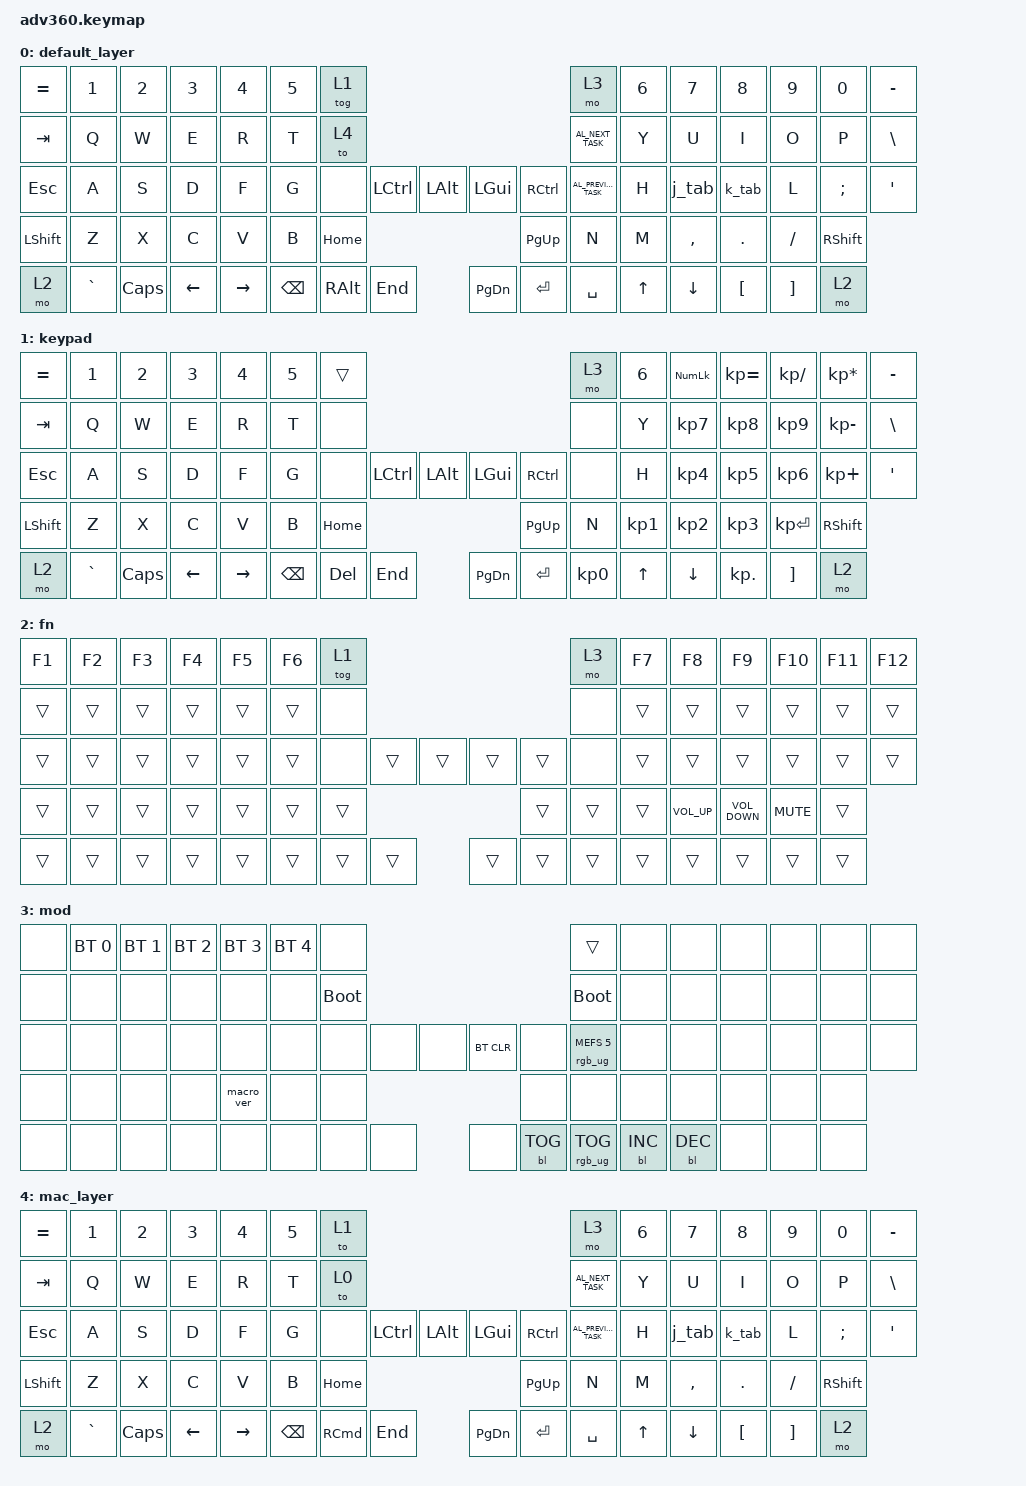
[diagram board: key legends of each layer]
#include <behaviors.dtsi>
#include <dt-bindings/zmk/keys.h>
#include <dt-bindings/zmk/bt.h>
#include <dt-bindings/zmk/rgb.h>
#include <dt-bindings/zmk/backlight.h>
#include "mac.keymap"

/ {
    behaviors {
      #include "macros.dtsi"
      #include "version.dtsi"
      #ifndef VERSION_MACRO
      macro_ver: macro_ver {
        compatible = "zmk,behavior-macro";
        label = "macro_version";
        #binding-cells = <0>;
        bindings = <&kp RET>;
      };
      #endif

      hm: homerow_mods {
          compatible = "zmk,behavior-hold-tap";
          label = "HOMEROW_MODS";
          #binding-cells = <2>;
          tapping-term-ms = <200>;
          quick_tap_ms = <175>;
          flavor = "tap-preferred";
          bindings = <&kp>, <&kp>;
      };
    };

    macros {
        shift_tab: shift_tab {
            label = "Shift_Tab";
            compatible = "zmk,behavior-macro";
            #binding-cells = <0>;
            bindings
                = <&macro_press &kp LSHFT>
                , <&macro_tap &kp TAB>
                , <&macro_release &kp LSHFT>
                ;
        };
    };

    behaviors {
        k_tab: k_tab {
            compatible = "zmk,behavior-mod-morph";
            label = "K_OR_TAB";
            #binding-cells = <0>;
            bindings = <&kp K>, <&kp TAB>;
            mods = <(MOD_RALT)>;
            keep-mods = <(MOD_RALT)>;
        };
    };

  keymap {
    compatible = "zmk,keymap";

    default_layer {
      bindings = <
        &kp EQUAL &kp N1    &kp N2   &kp N3   &kp N4     &kp N5 &tog 1                                                           &mo 3 &kp N6 &kp N7 &kp N8    &kp N9   &kp N0   &kp MINUS
        &kp TAB   &kp Q     &kp W    &kp E    &kp R      &kp T  &to 4                                                            &kp C_AL_NEXT_TASK &kp Y  &kp U  &kp I     &kp O    &kp P    &kp BSLH
        &kp ESC   &kp A     &kp S    &kp D    &kp F      &kp G  &none           &kp LCTRL &kp LALT &kp LGUI  &kp RCTRL           &kp C_AL_PREVIOUS_TASK &kp H  &j_tab  &k_tab     &kp L    &kp SEMI &kp SQT
        &kp LSHFT &kp Z     &kp X    &kp C    &kp V      &kp B                            &kp HOME &kp PG_UP                           &kp N  &kp M  &kp COMMA &kp DOT  &kp FSLH &kp RSHFT
        &mo 2     &kp GRAVE &kp CAPS &kp LEFT &kp RIGHT                &kp BSPC &kp RALT   &kp END  &kp PG_DN &kp ENTER &kp SPACE              &kp UP &kp DOWN  &kp LBKT &kp RBKT &mo 2
      >;
    };
    keypad {
      bindings = <
        &kp EQUAL &kp N1    &kp N2   &kp N3   &kp N4     &kp N5 &trans                                                           &mo 3 &kp N6 &kp KP_NUM &kp KP_EQUAL &kp KP_DIVIDE &kp KP_MULTIPLY &kp MINUS
        &kp TAB   &kp Q     &kp W    &kp E    &kp R      &kp T  &none                                                            &none &kp Y  &kp KP_N7  &kp KP_N8    &kp KP_N9     &kp KP_MINUS    &kp BSLH
        &kp ESC   &kp A     &kp S    &kp D    &kp F      &kp G  &none           &kp LCTRL &kp LALT &kp LGUI  &kp RCTRL           &none &kp H  &kp KP_N4  &kp KP_N5    &kp KP_N6     &kp KP_PLUS     &kp SQT
        &kp LSHFT &kp Z     &kp X    &kp C    &kp V      &kp B                            &kp HOME &kp PG_UP                           &kp N  &kp KP_N1  &kp KP_N2    &kp KP_N3     &kp KP_ENTER    &kp RSHFT
        &mo 2     &kp GRAVE &kp CAPS &kp LEFT &kp RIGHT                &kp BSPC &kp DEL   &kp END  &kp PG_DN &kp ENTER &kp KP_N0              &kp UP     &kp DOWN     &kp KP_DOT    &kp RBKT        &mo 2
      >;
    };
    fn {
      bindings = <
        &kp F1 &kp F2 &kp F3 &kp F4 &kp F5 &kp F6 &tog 1                                           &mo 3 &kp F7 &kp F8 &kp F9 &kp F10 &kp F11 &kp F12
        &trans &trans &trans &trans &trans &trans  &none                                           &none &trans &trans &trans &trans  &trans  &trans
        &trans &trans &trans &trans &trans &trans  &none        &trans &trans &trans &trans        &none &trans &trans &trans &trans  &trans  &trans
        &trans &trans &trans &trans &trans &trans                      &trans &trans                     &trans &trans &kp C_VOLUME_UP &kp C_VOLUME_DOWN  &kp C_MUTE  &trans
        &trans &trans &trans &trans &trans               &trans &trans &trans &trans &trans &trans              &trans &trans &trans  &trans  &trans
      >;
    };
    mod {
      bindings = <
        &none &bt BT_SEL 0 &bt BT_SEL 1 &bt BT_SEL 2 &bt BT_SEL 3 &bt BT_SEL 4 &none                                                                     &trans                 &none        &none        &none        &none &none &none
        &none &none        &none        &none        &none        &none        &bootloader                                                               &bootloader            &none        &none        &none        &none &none &none
        &none &none        &none        &none        &none        &none        &none                   &none &none &bt BT_CLR &none                      &rgb_ug RGB_MEFS_CMD 5 &none        &none        &none        &none &none &none
        &none &none        &none        &none        &macro_ver   &none                                      &none &none                                                        &none        &none        &none        &none &none &none
        &none &none        &none        &none        &none                                       &none &none &none &none      &bl BL_TOG &rgb_ug RGB_TOG                                     &bl BL_INC   &bl BL_DEC   &none &none &none
      >;
    };
    mac_layer {
      bindings = <
        &kp EQUAL &kp N1    &kp N2   &kp N3   &kp N4     &kp N5 &to 1                                                            &mo 3 &kp N6 &kp N7 &kp N8    &kp N9   &kp N0   &kp MINUS
        &kp TAB   &kp Q     &kp W    &kp E    &kp R      &kp T  &to 0                                                            &kp C_AL_NEXT_TASK &kp Y  &kp U  &kp I     &kp O    &kp P    &kp BSLH
        &kp ESC   &kp A     &kp S    &kp D    &kp F      &kp G  &none           &kp LCTRL &kp LALT &kp LGUI  &kp RCTRL           &kp C_AL_PREVIOUS_TASK &kp H  &j_tab  &k_tab     &kp L    &kp SEMI &kp SQT
        &kp LSHFT &kp Z     &kp X    &kp C    &kp V      &kp B                            &kp HOME &kp PG_UP                           &kp N  &kp M  &kp COMMA &kp DOT  &kp FSLH &kp RSHFT
        &mo 2     &kp GRAVE &kp CAPS &kp LEFT &kp RIGHT                &kp BSPC &kp RIGHT_COMMAND  &kp END  &kp PG_DN &kp ENTER &kp SPACE              &kp UP &kp DOWN  &kp LBKT &kp RBKT &mo 2
      >;
    };
  };
};
